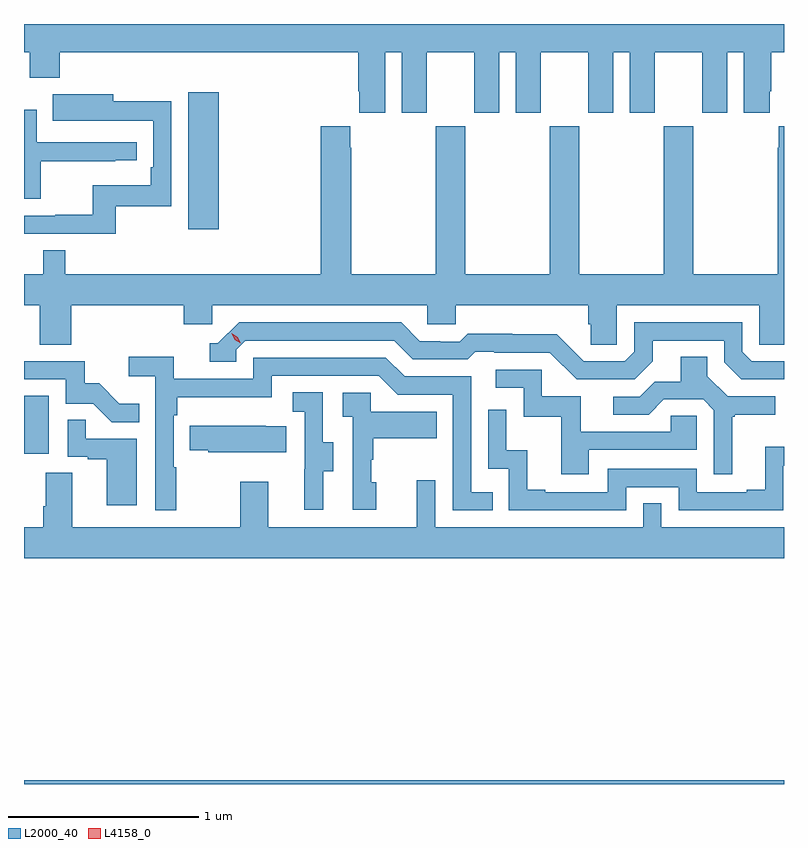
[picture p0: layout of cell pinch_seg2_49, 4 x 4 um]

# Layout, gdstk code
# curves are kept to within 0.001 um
import gdstk
lib = gdstk.Library(unit=1e-6, precision=1e-09)
def R(c, l, rs):  # rectangles x0, y0, x1, y1
    for r in rs: c.add(gdstk.rectangle(r[:2], r[2:], *l))
def P(c, l, *ps):  # polygons
    for p in ps: c.add(gdstk.Polygon(p, *l))
L2000_40 = (2000, 40)
L4158_0 = (4158, 0)

pinch_seg2_49 = lib.new_cell('pinch_seg2_49')
R(pinch_seg2_49, L2000_40, [(1069.781,661.101,1073.781,661.12), (1069.781,662.838,1069.912,663.145), (1070.645,664.02,1070.806,664.741)])
P(pinch_seg2_49, L2000_40, [(1071.682,664.952),(1071.77,664.952),(1071.77,664.635),(1071.901,664.635),(1071.901,664.952),(1072.151,664.952),(1072.151,664.635),(1072.282,664.635),(1072.282,664.952),(1072.37,664.952),(1072.37,664.635),(1072.501,664.635),(1072.501,664.952),(1072.751,664.952),(1072.751,664.635),(1072.882,664.635),(1072.882,664.952),(1072.97,664.952),(1072.97,664.635),(1073.101,664.635),(1073.101,664.952),(1073.351,664.952),(1073.351,664.635),(1073.482,664.635),(1073.482,664.952),(1073.57,664.952),(1073.57,664.635),(1073.707,664.635),(1073.707,664.747),(1073.714,664.747),(1073.714,664.952),(1073.781,664.952),(1073.781,665.101),(1069.781,665.101),(1069.781,664.952),(1069.81,664.952),(1069.81,664.817),(1069.97,664.817),(1069.97,664.952),(1071.539,664.952),(1071.539,664.747),(1071.545,664.747),(1071.545,664.635),(1071.682,664.635)],
  [(1070.263,664.143),(1070.556,664.143),(1070.556,664.694),(1070.251,664.694),(1070.251,664.732),(1069.933,664.732),(1069.933,664.592),(1070.147,664.592),(1070.147,664.593),(1070.46,664.593),(1070.46,664.348),(1070.447,664.348),(1070.447,664.252),(1070.142,664.252),(1070.142,664.097),(1069.945,664.097),(1069.945,664.092),(1069.781,664.092),(1069.781,663.996),(1070.263,663.996)],
  [(1069.868,664.378),(1070.261,664.378),(1070.261,664.383),(1070.374,664.383),(1070.374,664.479),(1069.848,664.479),(1069.848,664.651),(1069.781,664.651),(1069.781,664.182),(1069.868,664.182)],
  [(1070.03,663.62),(1070.621,663.62),(1070.621,663.522),(1070.772,663.522),(1070.772,663.62),(1071.903,663.62),(1071.903,663.522),(1072.053,663.522),(1072.053,663.62),(1072.751,663.62),(1072.751,663.522),(1072.765,663.522),(1072.765,663.412),(1072.902,663.412),(1072.902,663.62),(1073.652,663.62),(1073.652,663.412),(1073.781,663.412),(1073.781,664.564),(1073.753,664.564),(1073.753,664.451),(1073.749,664.451),(1073.749,663.784),(1073.304,663.784),(1073.304,664.564),(1073.149,664.564),(1073.149,663.784),(1072.704,663.784),(1072.704,664.564),(1072.549,664.564),(1072.549,663.784),(1072.104,663.784),(1072.104,664.564),(1071.949,664.564),(1071.949,663.784),(1071.504,663.784),(1071.504,664.451),(1071.499,664.451),(1071.499,664.564),(1071.344,664.564),(1071.344,663.784),(1069.997,663.784),(1069.997,663.911),(1069.881,663.911),(1069.881,663.784),(1069.781,663.784),(1069.781,663.62),(1069.865,663.62),(1069.865,663.412),(1070.03,663.412)],
  [(1073.781,663.327),(1073.61,663.327),(1073.562,663.375),(1073.562,663.531),(1072.992,663.531),(1072.992,663.375),(1072.944,663.327),(1072.728,663.327),(1072.586,663.469),(1072.35,663.469),(1072.35,663.472),(1072.117,663.472),(1072.075,663.429),(1071.972,663.429),(1071.972,663.432),(1071.865,663.432),(1071.766,663.531),(1070.913,663.531),(1070.802,663.42),(1070.759,663.42),(1070.759,663.324),(1070.898,663.324),(1070.898,663.387),(1070.946,663.435),(1071.729,663.435),(1071.828,663.336),(1072.117,663.336),(1072.156,663.375),(1072.255,663.375),(1072.255,663.372),(1072.548,663.372),(1072.689,663.231),(1072.995,663.231),(1073.089,663.325),(1073.089,663.435),(1073.466,663.435),(1073.466,663.321),(1073.556,663.231),(1073.781,663.23)],
  [(1073.509,663.033),(1073.521,663.033),(1073.521,663.044),(1073.734,663.044),(1073.734,663.141),(1073.484,663.141),(1073.377,663.248),(1073.377,663.35),(1073.237,663.35),(1073.237,663.218),(1073.102,663.218),(1073.022,663.138),(1072.881,663.138),(1072.881,663.045),(1073.068,663.045),(1073.149,663.126),(1073.355,663.126),(1073.412,663.069),(1073.412,662.73),(1073.509,662.73)],
  [(1070.581,662.768),(1070.568,662.768),(1070.568,663.041),(1070.588,663.041),(1070.588,663.137),(1071.084,663.137),(1071.084,663.249),(1071.648,663.249),(1071.747,663.15),(1072.038,663.15),(1072.038,662.541),(1072.247,662.541),(1072.247,662.637),(1072.134,662.637),(1072.134,663.246),(1071.784,663.246),(1071.685,663.345),(1070.988,663.345),(1070.988,663.234),(1070.57,663.234),(1070.57,663.35),(1070.331,663.35),(1070.331,663.248),(1070.472,663.248),(1070.472,662.541),(1070.581,662.541)],
  [(1070.387,663.103),(1070.283,663.103),(1070.176,663.21),(1070.1,663.21),(1070.1,663.327),(1069.781,663.327),(1069.781,663.231),(1070.001,663.231),(1070.001,663.102),(1070.145,663.102),(1070.243,663.004),(1070.387,663.004)],
  [(1072.753,662.859),(1073.322,662.859),(1073.322,663.039),(1073.185,663.039),(1073.185,662.955),(1072.711,662.955),(1072.711,663.141),(1072.506,663.141),(1072.506,663.282),(1072.263,663.282),(1072.263,663.186),(1072.41,663.186),(1072.41,663.033),(1072.609,663.033),(1072.609,662.73),(1072.753,662.73)],
  [(1071.355,662.746),(1071.409,662.746),(1071.409,662.901),(1071.354,662.901),(1071.354,663.164),(1071.195,663.164),(1071.195,663.061),(1071.258,663.061),(1071.258,662.757),(1071.257,662.757),(1071.257,662.544),(1071.355,662.544)],
  [(1071.634,662.688),(1071.609,662.688),(1071.609,662.807),(1071.619,662.807),(1071.619,662.921),(1071.953,662.921),(1071.953,663.061),(1071.606,663.061),(1071.606,663.159),(1071.459,663.159),(1071.459,663.035),(1071.51,663.035),(1071.51,662.544),(1071.634,662.544)],
  [(1072.95,662.664),(1073.226,662.664),(1073.226,662.541),(1073.778,662.541),(1073.778,662.777),(1073.781,662.777),(1073.781,662.875),(1073.681,662.875),(1073.681,662.65),(1073.585,662.65),(1073.585,662.637),(1073.322,662.637),(1073.322,662.76),(1072.854,662.76),(1072.854,662.637),(1072.525,662.637),(1072.525,662.65),(1072.43,662.65),(1072.43,662.858),(1072.32,662.858),(1072.32,663.07),(1072.224,663.07),(1072.224,662.76),(1072.332,662.76),(1072.332,662.541),(1072.95,662.541)],
  [(1070.374,662.919),(1070.105,662.919),(1070.105,663.017),(1070.01,663.017),(1070.01,662.823),(1070.117,662.823),(1070.117,662.811),(1070.216,662.811),(1070.216,662.568),(1070.374,662.568)],
  [(1071.161,662.983),(1071.053,662.983),(1071.053,662.986),(1070.653,662.986),(1070.653,662.857),(1070.751,662.857),(1070.751,662.846),(1071.161,662.846)],
  [(1073.781,662.452),(1073.136,662.452),(1073.136,662.579),(1073.04,662.579),(1073.04,662.452),(1071.945,662.452),(1071.945,662.701),(1071.848,662.701),(1071.848,662.452),(1071.067,662.452),(1071.067,662.692),(1070.92,662.692),(1070.92,662.452),(1070.035,662.452),(1070.035,662.738),(1069.895,662.738),(1069.895,662.564),(1069.883,662.564),(1069.883,662.452),(1069.781,662.452),(1069.781,662.288),(1073.781,662.288)])
P(pinch_seg2_49, L4158_0, [(1070.921,663.42),(1070.89,663.44),(1070.874,663.473),(1070.874,663.473),(1070.875,663.473),(1070.906,663.453),(1070.922,663.421),(1070.922,663.42)])

lib.write_gds('pinch_seg2_49.gds')
